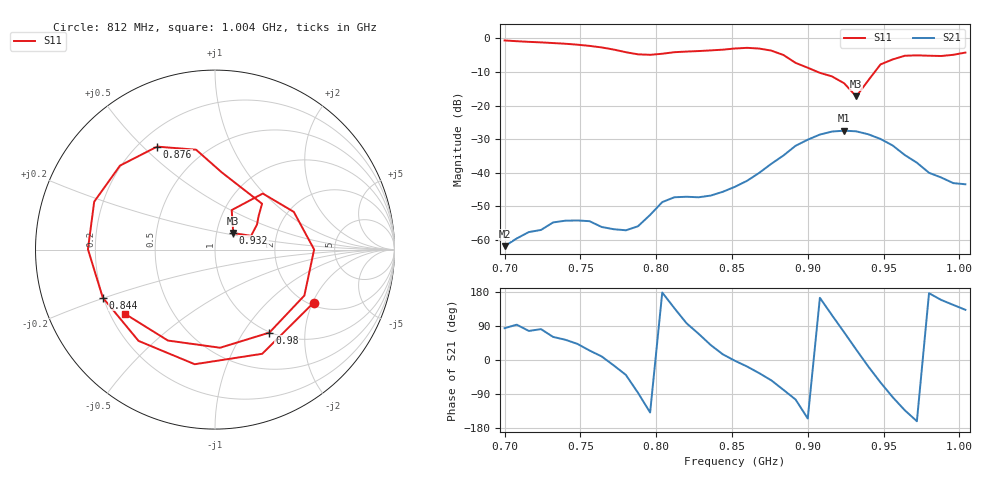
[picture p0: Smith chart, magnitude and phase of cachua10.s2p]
# Hz S RI R 50
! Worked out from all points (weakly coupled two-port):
!   39 points, 700 MHz to 1.004 GHz, reference 50 ohm
!   highest |S21| = -27.45 dB at 924 MHz (marker M1); lowest = -61.8 dB at 700 MHz (marker M2)
!   lowest |S11| = -17.3 dB at 932 MHz (marker M3), VSWR 1.32, Z = 60.1 + j11.3 ohm
!   |S11| at or under -10 dB: 906.7 MHz to 944.1 MHz (37.41 MHz wide, 4.04 % of centre)
!   S12 and S22 are empty: the file has one direction only
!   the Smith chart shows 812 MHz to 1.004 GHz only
!   S11 on the Smith chart (normalised r, x): 812 MHz: 2.10, -2.04; 844 MHz: 0.20, -0.20; 876 MHz: 0.27, +0.55; 932 MHz: 1.20, +0.23; 980 MHz: 0.99, -1.32; 1.004 GHz: 0.26, -0.30
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7e8  0.7637 0.5351  8.56e-05 0.000808  0 0  0 0
7.24e8  0.8339 -0.2574  0.000209 0.0014  0 0  0 0
7.4e8  0.4492 -0.702  0.00116 0.00156  0 0  0 0
7.56e8  -0.1945 -0.7499  0.00173 0.000811  0 0  0 0
7.72e8  -0.6543 -0.1952  0.00141 -0.000358  0 0  0 0
7.8e8  -0.5805 0.2276  0.00108 -0.000887  0 0  0 0
7.88e8  -0.2338 0.5306  9.67e-05 -0.0016  0 0  0 0
7.96e8  0.2528 0.5115  -0.00178 -0.00157  0 0  0 0
8.04e8  0.5706 0.1555  -0.00367 0.000122  0 0  0 0
8.12e8  0.5494 -0.2958  -0.00316 0.00297  0 0  0 0
8.28e8  -0.1131 -0.6386  0.00154 0.00405  0 0  0 0
8.44e8  -0.6255 -0.267  0.00506 0.00135  0 0  0 0
8.52e8  -0.7079 0.00205  0.00621 -0.000233  0 0  0 0
8.76e8  -0.3226 0.5737  0.00807 -0.011  0 0  0 0
9e8  0.2621 0.2557  -0.0281 -0.0134  0 0  0 0
9.08e8  0.2433 0.1883  -0.0357 0.0102  0 0  0 0
9.24e8  0.2011 0.0766  0.0123 0.0406  0 0  0 0
9.32e8  0.1016 0.0922  0.0369 0.019  0 0  0 0
9.56e8  0.4391 0.2102  -0.00354 -0.0253  0 0  0 0
9.64e8  0.5522 0.000621  -0.0125 -0.0136  0 0  0 0
9.8e8  0.3029 -0.4625  -0.01 0.000662  0 0  0 0
1.004e9  -0.5009 -0.3583  -0.00457 0.00499  0 0  0 0
